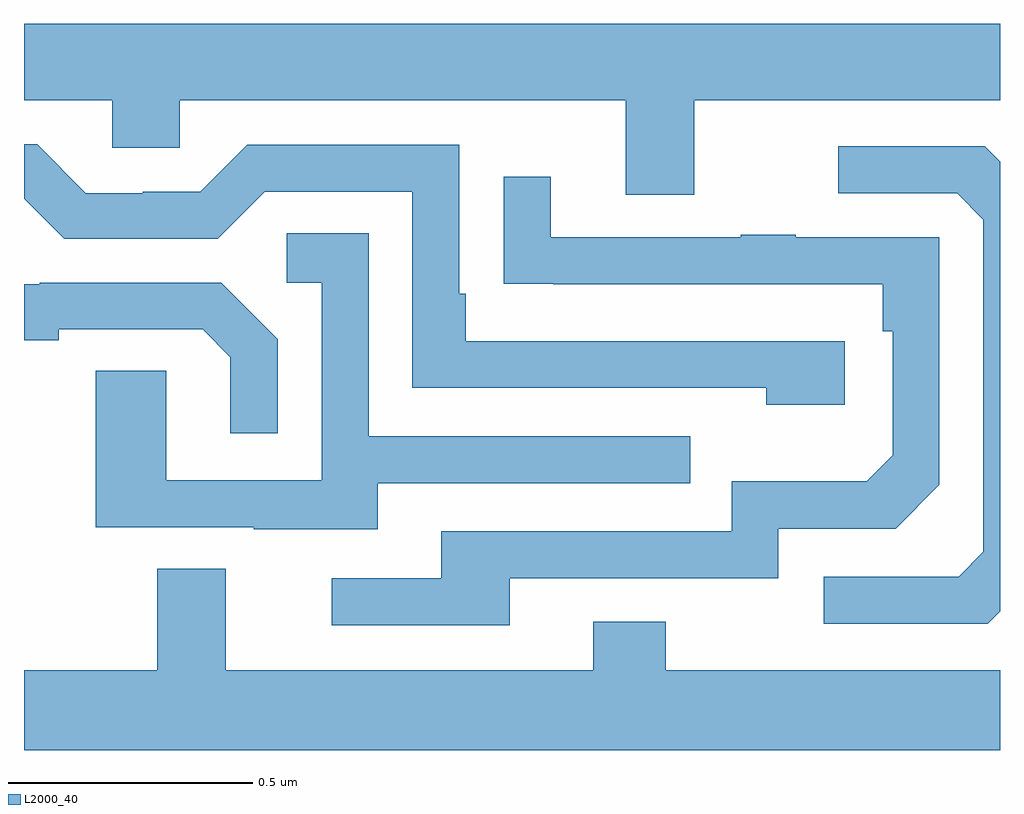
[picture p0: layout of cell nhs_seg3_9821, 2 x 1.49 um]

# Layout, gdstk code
import gdstk
lib = gdstk.Library(unit=1e-6, precision=1e-09)
def P(c, l, *ps):  # polygons
    for p in ps: c.add(gdstk.Polygon(p, *l))
L2000_40 = (2000, 40)

nhs_seg3_9821 = lib.new_cell('nhs_seg3_9821')
P(nhs_seg3_9821, L2000_40, [(233,706.244),(233.181,706.244),(233.181,706.146),(233.319,706.146),(233.319,706.244),(234.233,706.244),(234.233,706.05),(234.373,706.05),(234.373,706.244),(235,706.244),(235,706.4),(233,706.4)],
  [(234.682,705.75),(233.905,705.75),(233.905,705.847),(233.892,705.847),(233.892,706.152),(233.457,706.152),(233.361,706.056),(233.243,706.056),(233.243,706.053),(233.127,706.053),(233.027,706.153),(233,706.153),(233,706.042),(233.082,705.96),(233.397,705.96),(233.493,706.056),(233.796,706.056),(233.796,705.654),(234.521,705.654),(234.521,705.62),(234.682,705.62)],
  [(235,705.196),(235,706.118),(234.969,706.149),(234.669,706.149),(234.669,706.053),(234.912,706.053),(234.966,705.999),(234.966,705.318),(234.915,705.267),(234.639,705.267),(234.639,705.171),(234.975,705.171)],
  [(233.995,705.264),(234.546,705.264),(234.546,705.366),(234.786,705.366),(234.876,705.456),(234.876,705.963),(234.581,705.963),(234.581,705.968),(234.469,705.968),(234.469,705.963),(234.079,705.963),(234.079,706.087),(233.983,706.087),(233.983,705.868),(234.085,705.868),(234.085,705.867),(234.76,705.867),(234.76,705.77),(234.78,705.77),(234.78,705.516),(234.727,705.463),(234.45,705.463),(234.45,705.36),(233.855,705.36),(233.855,705.264),(233.631,705.264),(233.631,705.168),(233.995,705.168)],
  [(233.725,705.459),(234.365,705.459),(234.365,705.555),(233.706,705.555),(233.706,705.971),(233.538,705.971),(233.538,705.87),(233.61,705.87),(233.61,705.465),(233.292,705.465),(233.292,705.689),(233.147,705.689),(233.147,705.369),(233.471,705.369),(233.471,705.365),(233.725,705.365)],
  [(233.52,705.754),(233.404,705.87),(233.032,705.87),(233.032,705.867),(233,705.867),(233,705.752),(233.071,705.752),(233.071,705.774),(233.366,705.774),(233.423,705.717),(233.423,705.561),(233.52,705.561)],
  [(235,705.076),(234.315,705.076),(234.315,705.175),(234.167,705.175),(234.167,705.076),(233.413,705.076),(233.413,705.284),(233.273,705.284),(233.273,705.076),(233,705.076),(233,704.912),(235,704.912)])

lib.write_gds('nhs_seg3_9821.gds')
